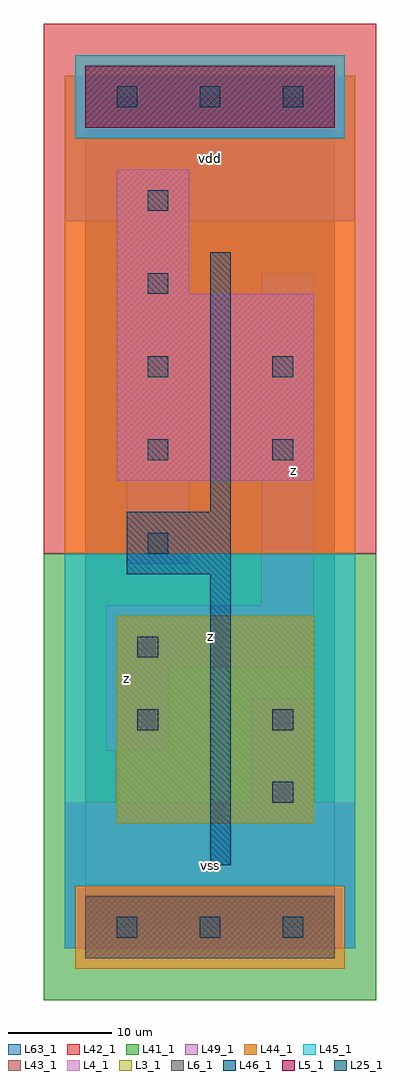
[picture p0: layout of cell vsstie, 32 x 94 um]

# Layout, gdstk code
import gdstk
lib = gdstk.Library(unit=1e-6, precision=1e-09)
def R(c, l, rs):  # rectangles x0, y0, x1, y1
    for r in rs: c.add(gdstk.rectangle(r[:2], r[2:], *l))
def A(c, l, x, y, w, h, nx, ny, dx, dy):  # array of equal rectangles
    R(c, l, [(x+i*dx, y+j*dy, x+i*dx+w, y+j*dy+h) for i in range(nx) for j in range(ny)])
L3_1 = (3, 1)
L4_1 = (4, 1)
L5_1 = (5, 1)
L6_1 = (6, 1)
L25_1 = (25, 1)
L41_1 = (41, 1)
L42_1 = (42, 1)
L43_1 = (43, 1)
L44_1 = (44, 1)
L45_1 = (45, 1)
L46_1 = (46, 1)
L49_1 = (49, 1)
L63_1 = (63, 1)

vsstie = lib.new_cell('vsstie')
R(vsstie, L3_1, [(3,10,22,30)])
R(vsstie, L4_1, [(3,43,22,61), (3,61,10,73)])
R(vsstie, L5_1, [(0,77,24,83)])
R(vsstie, L6_1, [(0,-3,24,3), (0,-3,24,3)])
A(vsstie, L25_1, 3, -1, 2, 2, 3, 2, 8, 80)
A(vsstie, L25_1, 6, 45, 2, 2, 1, 4, 0, 8)
R(vsstie, L25_1, [(18,12,20,14), (5,19,7,21), (18,19,20,21), (5,26,7,28), (6,36,8,38), (18,45,20,47), (18,53,20,55)])
R(vsstie, L41_1, [(-4,-7,28,36)])
R(vsstie, L42_1, [(-4,36,28,87)])
R(vsstie, L43_1, [(0,-3,24,3), (3,10,22,30), (3,43,22,61), (3,61,10,73), (0,77,24,83)])
R(vsstie, L44_1, [(-1,-4,25,4), (-2,36,26,76), (-2,76,-1,82), (25,76,26,82)])
R(vsstie, L45_1, [(-2,-2,-1,4), (25,-2,26,4), (-2,4,26,36), (-1,76,25,84)])
R(vsstie, L46_1, [(12,6,14,34), (4,34,14,40), (12,40,14,65)])
R(vsstie, L49_1, [(-2,-2,26,12), (16,12,22,22), (2,17,8,25), (2,25,22,31), (17,31,22,63), (4,35,10,68), (-2,68,26,82)])
R(vsstie, L63_1, [(0,0,24,80)])
vsstie.add(gdstk.Label('z', (4,24), layer=49, texttype=1))
vsstie.add(gdstk.Label('vss', (12,6), layer=49, texttype=1))
vsstie.add(gdstk.Label('z', (12,28), layer=49, texttype=1))
vsstie.add(gdstk.Label('vdd', (12,74), layer=49, texttype=1))
vsstie.add(gdstk.Label('z', (20,44), layer=49, texttype=1))

lib.write_gds('vsstie.gds')
